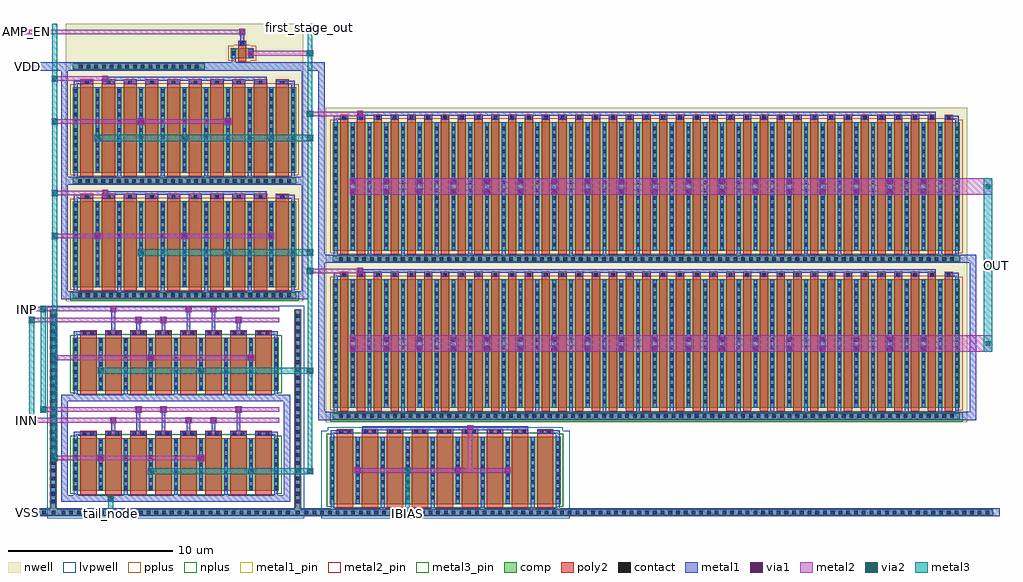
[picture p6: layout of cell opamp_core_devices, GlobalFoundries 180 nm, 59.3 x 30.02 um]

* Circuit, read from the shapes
.subckt opamp_core_devices AMP_EN IBIAS INN INP OUT VDD VSS first_stage_out mirror_diode_node tail_node
XM1 mirror_diode_node tail_node tail_node VSS nfet_03v3 w=3.2u l=1u m=2
XM2 first_stage_out tail_node tail_node VSS nfet_03v3 w=3.2u l=1u m=2
XM3 tail_node INN mirror_diode_node VSS nfet_03v3 w=3.2u l=1u m=6
XM4 tail_node INP first_stage_out VSS nfet_03v3 w=3.2u l=1u m=6
XM5 IBIAS VSS VSS VSS nfet_03v3 w=4.1u l=1u
XM6 VSS IBIAS IBIAS VSS nfet_03v3 w=4.1u l=1u m=7
XM7 VSS VSS VSS VSS nfet_03v3 w=4.1u l=1u
XM8 mirror_diode_node VDD VDD VDD pfet_03v3 w=5.2u l=0.8u m=2
XM9 first_stage_out VDD VDD VDD pfet_03v3 w=5.2u l=0.8u m=2
XM10 VDD mirror_diode_node mirror_diode_node VDD pfet_03v3 w=5.2u l=0.8u m=8
XM11 VDD mirror_diode_node first_stage_out VDD pfet_03v3 w=5.2u l=0.8u m=8
XM12 first_stage_out AMP_EN VDD VDD pfet_03v3 w=0.6u l=0.5u
XM13 OUT VDD VDD VDD pfet_03v3 w=7.8u l=0.5u m=2
XM14 VDD first_stage_out OUT VDD pfet_03v3 w=7.8u l=0.5u m=70
XM15 VDD VDD VDD VDD pfet_03v3 w=7.8u l=0.5u m=2
.ends

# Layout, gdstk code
import gdstk
lib = gdstk.Library(unit=1e-6, precision=1e-09)
def R(c, l, rs):  # rectangles x0, y0, x1, y1
    for r in rs: c.add(gdstk.rectangle(r[:2], r[2:], *l))
def A(c, l, x, y, w, h, nx, ny, dx, dy):  # array of equal rectangles
    R(c, l, [(x+i*dx, y+j*dy, x+i*dx+w, y+j*dy+h) for i in range(nx) for j in range(ny)])
nwell = (21, 0)
comp = (22, 0)
poly2 = (30, 0)
pplus = (31, 0)
nplus = (32, 0)
contact = (33, 0)
metal1 = (34, 0)
metal1_pin = (34, 10)
via1 = (35, 0)
metal2 = (36, 0)
metal2_pin = (36, 10)
via2 = (38, 0)
metal3 = (42, 0)
metal3_pin = (42, 10)
lvpwell = (204, 0)

nfet_03v3_z5rs35 = lib.new_cell('nfet_03v3_Z5RS35')
R(nfet_03v3_z5rs35, comp, [(-7.02,-2.17,7.02,1.93)])
A(nfet_03v3_z5rs35, poly2, -6.58, -2.39, 1, 4.78, 9, 1, 1.52, 0)
R(nfet_03v3_z5rs35, nplus, [(-6.81,-2.4,6.81,-2.33), (-7.18,-2.33,7.18,2.09), (-6.81,2.09,6.81,2.16)])
A(nfet_03v3_z5rs35, contact, -6.95, -1.875, 0.22, 0.22, 10, 8, 1.52, 0.47)
R(nfet_03v3_z5rs35, contact, [(-6.425,2.1,-6.205,2.32), (-5.955,2.1,-5.735,2.32), (-4.905,2.1,-4.685,2.32), (-4.435,2.1,-4.215,2.32), (-3.385,2.1,-3.165,2.32), (-2.915,2.1,-2.695,2.32), (-1.865,2.1,-1.645,2.32), (-1.395,2.1,-1.175,2.32), (-0.345,2.1,-0.125,2.32), (0.125,2.1,0.345,2.32), (1.175,2.1,1.395,2.32), (1.645,2.1,1.865,2.32), (2.695,2.1,2.915,2.32), (3.165,2.1,3.385,2.32), (4.215,2.1,4.435,2.32), (4.685,2.1,4.905,2.32), (5.735,2.1,5.955,2.32), (6.205,2.1,6.425,2.32)])
A(nfet_03v3_z5rs35, metal1, -6.955, -2.16, 0.23, 4.08, 10, 1, 1.52, 0)
A(nfet_03v3_z5rs35, metal1, -6.57, 2.095, 0.98, 0.23, 9, 1, 1.52, 0)
R(nfet_03v3_z5rs35, lvpwell, [(-7.14,-2.51,7.14,2.51)])

pfet_03v3_5ws5t6 = lib.new_cell('pfet_03v3_5WS5T6')
R(pfet_03v3_5ws5t6, nwell, [(-1.12,-1.07,1.12,1.07)])
R(pfet_03v3_5ws5t6, comp, [(-0.69,-0.42,0.69,0.18)])
R(pfet_03v3_5ws5t6, poly2, [(-0.25,-0.64,0.25,0.64)])
R(pfet_03v3_5ws5t6, pplus, [(-0.48,-0.65,0.48,-0.58), (-0.85,-0.58,0.85,0.34), (-0.48,0.34,0.48,0.41)])
R(pfet_03v3_5ws5t6, contact, [(-0.62,-0.23,-0.4,-0.01), (0.4,-0.23,0.62,-0.01), (-0.11,0.35,0.11,0.57)])
R(pfet_03v3_5ws5t6, metal1, [(-0.625,-0.41,-0.395,0.17), (0.395,-0.41,0.625,0.17), (-0.24,0.345,0.24,0.575)])

pfet_03v3_2qtqw7 = lib.new_cell('pfet_03v3_2QTQW7')
R(pfet_03v3_2qtqw7, nwell, [(-7.21,-3.37,7.21,3.37)])
R(pfet_03v3_2qtqw7, comp, [(-6.78,-2.72,6.78,2.48)])
A(pfet_03v3_2qtqw7, poly2, -6.34, -2.94, 0.8, 5.88, 10, 1, 1.32, 0)
R(pfet_03v3_2qtqw7, pplus, [(-6.57,-2.95,6.57,-2.88), (-6.94,-2.88,6.94,2.64), (-6.57,2.64,6.57,2.71)])
A(pfet_03v3_2qtqw7, contact, -6.71, -2.58, 0.22, 0.22, 11, 11, 1.32, 0.47)
A(pfet_03v3_2qtqw7, contact, -6.05, 2.65, 0.22, 0.22, 10, 1, 1.32, 0)
A(pfet_03v3_2qtqw7, metal1, -6.715, -2.71, 0.23, 5.18, 11, 1, 1.32, 0)
A(pfet_03v3_2qtqw7, metal1, -6.33, 2.645, 0.78, 0.23, 10, 1, 1.32, 0)

nfet_03v3_f2zzeg = lib.new_cell('nfet_03v3_F2ZZEG')
R(nfet_03v3_f2zzeg, comp, [(-6.26,-1.72,6.26,1.48)])
A(nfet_03v3_f2zzeg, poly2, -5.82, -1.94, 1, 3.88, 8, 1, 1.52, 0)
R(nfet_03v3_f2zzeg, nplus, [(-6.05,-1.95,6.05,-1.88), (-6.42,-1.88,6.42,1.64), (-6.05,1.64,6.05,1.71)])
A(nfet_03v3_f2zzeg, contact, -6.19, -1.64, 0.22, 0.22, 9, 7, 1.52, 0.47)
R(nfet_03v3_f2zzeg, contact, [(-5.665,1.65,-5.445,1.87), (-5.195,1.65,-4.975,1.87), (-4.145,1.65,-3.925,1.87), (-3.675,1.65,-3.455,1.87), (-2.625,1.65,-2.405,1.87), (-2.155,1.65,-1.935,1.87), (-1.105,1.65,-0.885,1.87), (-0.635,1.65,-0.415,1.87), (0.415,1.65,0.635,1.87), (0.885,1.65,1.105,1.87), (1.935,1.65,2.155,1.87), (2.405,1.65,2.625,1.87), (3.455,1.65,3.675,1.87), (3.925,1.65,4.145,1.87), (4.975,1.65,5.195,1.87), (5.445,1.65,5.665,1.87)])
A(nfet_03v3_f2zzeg, metal1, -6.195, -1.71, 0.23, 3.18, 9, 1, 1.52, 0)
A(nfet_03v3_f2zzeg, metal1, -5.81, 1.645, 0.98, 0.23, 8, 1, 1.52, 0)
R(nfet_03v3_f2zzeg, lvpwell, [(-6.38,-2.06,6.38,2.06)])

pfet_03v3_p9n4gx = lib.new_cell('pfet_03v3_P9N4GX')
R(pfet_03v3_p9n4gx, nwell, [(-19.48,-4.67,19.48,4.67)])
R(pfet_03v3_p9n4gx, comp, [(-19.05,-4.02,19.05,3.78)])
A(pfet_03v3_p9n4gx, poly2, -18.61, -4.24, 0.5, 8.48, 37, 1, 1.02, 0)
R(pfet_03v3_p9n4gx, pplus, [(-18.84,-4.25,18.84,-4.18), (-19.21,-4.18,19.21,3.94), (-18.84,3.94,18.84,4.01)])
A(pfet_03v3_p9n4gx, contact, -18.98, -3.755, 0.22, 0.22, 38, 16, 1.02, 0.47)
A(pfet_03v3_p9n4gx, contact, -18.47, 3.95, 0.22, 0.22, 37, 1, 1.02, 0)
A(pfet_03v3_p9n4gx, metal1, -18.985, -4.01, 0.23, 7.78, 38, 1, 1.02, 0)
A(pfet_03v3_p9n4gx, metal1, -18.6, 3.945, 0.48, 0.23, 37, 1, 1.02, 0)

opamp_core_devices = lib.new_cell('opamp_core_devices')
R(opamp_core_devices, nwell, [(18.37,5.73,57.33,24.75), (2.57,13.07,16.99,29.925)])
R(opamp_core_devices, comp, [(0.4,0.07,58.9,0.43), (1.635,0.43,1.995,12.555), (16.485,0.43,16.845,12.555), (18.8,5.92,56.9,6.28), (3,13.26,16.56,13.62), (18.8,15.47,56.9,15.83), (3,20.21,16.56,20.57), (3,27.16,11,27.52)])
R(opamp_core_devices, pplus, [(0.455,0.04,58.845,0.05), (0.38,0.05,58.92,0.45), (0.455,0.45,58.845,0.46), (1.605,0.46,2.025,12.585), (16.455,0.46,16.875,12.585)])
R(opamp_core_devices, nplus, [(18.64,5.76,57.06,6.32), (2.84,13.1,16.72,13.66), (18.855,15.44,56.845,15.45), (18.78,15.45,56.92,15.85), (18.855,15.85,56.845,15.86), (3.055,20.18,16.505,20.19), (2.98,20.19,16.58,20.59), (3.055,20.59,16.505,20.6), (3.055,27.13,10.945,27.14), (2.98,27.14,11.02,27.54), (3.055,27.54,10.945,27.55)])
A(opamp_core_devices, contact, 2.315, 0.14, 0.22, 0.22, 30, 1, 0.47, 0)
A(opamp_core_devices, contact, 17.095, 0.14, 0.22, 0.22, 89, 1, 0.47, 0)
A(opamp_core_devices, contact, 1.705, 0.795, 0.22, 0.22, 1, 25, 0, 0.47)
A(opamp_core_devices, contact, 16.555, 0.795, 0.22, 0.22, 1, 25, 0, 0.47)
A(opamp_core_devices, contact, 19.175, 5.99, 0.22, 0.22, 80, 2, 0.47, 9.55)
A(opamp_core_devices, contact, 3.325, 13.33, 0.22, 0.22, 28, 2, 0.47, 6.95)
A(opamp_core_devices, contact, 3.365, 27.23, 0.22, 0.22, 16, 1, 0.47, 0)
R(opamp_core_devices, contact, [(0.66,0.14,0.88,0.36), (1.13,0.14,1.35,0.36), (1.705,0.14,1.925,0.36), (16.555,0.14,16.775,0.36)])
A(opamp_core_devices, metal1, 21.705, 0.5, 0.23, 4.34, 4, 1, 3.04, 0)
A(opamp_core_devices, metal1, 6.105, 1.3, 0.23, 3.44, 3, 2, 3.04, 6.095)
A(opamp_core_devices, metal1, 20.11, 2.61, 0.38, 0.38, 4, 1, 3.04, 0)
A(opamp_core_devices, metal1, 20.905, 6.35, 0.23, 8.04, 18, 2, 2.04, 9.55)
A(opamp_core_devices, metal1, 19.81, 10.01, 0.38, 0.98, 18, 2, 2.04, 9.55)
A(opamp_core_devices, metal1, 5.705, 13.69, 0.23, 5.44, 4, 2, 2.64, 6.95)
A(opamp_core_devices, metal1, 4.31, 16.85, 0.38, 0.38, 3, 2, 5.28, 5.95)
R(opamp_core_devices, metal1, [(0,0,59.3,0.5), (1.665,0.5,1.965,12.545), (16.515,0.5,16.815,12.545), (18.665,0.5,18.895,5.015), (32.345,0.5,32.575,5.015), (2.3,0.9,16.22,1.3), (2.3,1.3,2.7,6.995), (3.065,1.3,3.295,4.915), (15.225,1.3,15.455,4.915), (15.82,1.3,16.22,6.995), (7.55,2.56,7.93,2.94), (13.63,2.56,14.01,2.94), (4.51,3.36,4.89,3.74), (10.59,3.36,10.97,3.74), (3.065,4.915,4.43,5.145), (5.345,4.915,5.575,5.655), (6.865,4.915,7.095,6.315), (8.385,4.915,8.615,6.315), (9.905,4.915,10.135,5.655), (11.425,4.915,11.655,5.655), (12.945,4.915,13.175,6.315), (14.09,4.915,15.455,5.145), (18.665,5.015,20.03,5.245), (31.21,5.015,32.575,5.245), (26.95,5.17,27.33,5.245), (20.57,5.245,30.67,5.475), (26.95,5.475,27.33,5.55), (5.27,5.655,5.65,6.035), (9.83,5.655,10.21,6.035), (11.35,5.655,11.73,6.035), (17.9,5.85,57.9,6.35), (6.79,6.315,7.17,6.695), (8.31,6.315,8.69,6.695), (12.87,6.315,13.25,6.695), (17.9,6.35,18.3,15.4), (18.865,6.35,19.095,14.565), (56.605,6.35,56.835,14.565), (57.5,6.35,57.9,15.4), (2.3,6.995,16.22,7.395), (3.065,7.395,3.295,11.01), (15.225,7.395,15.455,11.01), (4.51,8.655,4.89,9.035), (10.59,8.655,10.97,9.035), (7.55,9.455,7.93,9.835), (13.63,9.455,14.01,9.835), (3.065,11.01,4.43,11.24), (5.345,11.01,5.575,12.41), (6.865,11.01,7.095,11.75), (8.385,11.01,8.615,11.75), (9.905,11.01,10.135,12.41), (11.425,11.01,11.655,12.41), (12.945,11.01,13.175,11.75), (14.09,11.01,15.455,11.24), (6.79,11.75,7.17,12.13), (8.31,11.75,8.69,12.13), (12.87,11.75,13.25,12.13), (5.27,12.41,5.65,12.79), (9.83,12.41,10.21,12.79), (11.35,12.41,11.73,12.79), (2.3,13.19,17.3,13.69), (2.3,13.69,2.7,20.14), (3.065,13.69,3.295,19.305), (16.265,13.69,16.495,19.305), (16.9,13.69,17.3,20.14), (18.865,14.565,19.73,14.795), (55.97,14.565,56.835,14.795), (20.27,14.72,20.65,14.795), (20.27,14.795,55.43,15.025), (20.27,15.025,20.65,15.1), (17.9,15.4,57.9,15.9), (6.95,15.85,7.33,16.23), (12.23,15.85,12.61,16.23), (17.9,15.9,18.3,27.09), (18.865,15.9,19.095,24.115), (56.605,15.9,56.835,24.115), (3.065,19.305,4.23,19.535), (15.33,19.305,16.495,19.535), (4.77,19.46,5.15,19.535), (4.77,19.535,14.79,19.765), (4.77,19.765,5.15,19.84), (2.3,20.14,17.3,20.64), (2.3,20.64,2.7,27.09), (3.065,20.64,3.295,26.255), (16.265,20.64,16.495,26.255), (16.9,20.64,17.3,27.09), (6.95,23.8,7.33,24.18), (12.23,23.8,12.61,24.18), (18.865,24.115,19.73,24.345), (55.97,24.115,56.835,24.345), (20.27,24.27,20.65,24.345), (20.27,24.345,55.43,24.575), (20.27,24.575,20.65,24.65), (3.065,26.255,4.23,26.485), (15.33,26.255,16.495,26.485), (4.77,26.41,5.15,26.485), (4.77,26.485,14.79,26.715), (4.77,26.715,5.15,26.79), (0,27.09,18.3,27.59), (12.665,27.59,12.895,28.43), (13.61,27.95,13.99,28.33), (13.05,28.605,13.53,28.835), (13.175,28.835,13.405,29.245), (13.1,29.245,13.48,29.625)])
R(opamp_core_devices, metal1_pin, [(0,0,0.46,0.5), (0,27.09,0.46,27.59)])
A(opamp_core_devices, via1, 20.17, 2.67, 0.26, 0.26, 4, 1, 3.04, 0)
A(opamp_core_devices, via1, 19.87, 10.07, 0.26, 0.26, 18, 2, 2.04, 0.6)
A(opamp_core_devices, via1, 4.37, 16.91, 0.26, 0.26, 3, 2, 5.28, 5.95)
A(opamp_core_devices, via1, 19.87, 19.62, 0.26, 0.26, 18, 2, 2.04, 0.6)
R(opamp_core_devices, via1, [(5.17,0.97,5.43,1.23), (7.61,2.62,7.87,2.88), (13.69,2.62,13.95,2.88), (4.57,3.42,4.83,3.68), (10.65,3.42,10.91,3.68), (27.01,5.23,27.27,5.49), (5.33,5.715,5.59,5.975), (9.89,5.715,10.15,5.975), (11.41,5.715,11.67,5.975), (6.85,6.375,7.11,6.635), (8.37,6.375,8.63,6.635), (12.93,6.375,13.19,6.635), (4.57,8.715,4.83,8.975), (10.65,8.715,10.91,8.975), (7.61,9.515,7.87,9.775), (13.69,9.515,13.95,9.775), (6.85,11.81,7.11,12.07), (8.37,11.81,8.63,12.07), (12.93,11.81,13.19,12.07), (5.33,12.47,5.59,12.73), (9.89,12.47,10.15,12.73), (11.41,12.47,11.67,12.73), (20.33,14.78,20.59,15.04), (7.01,15.91,7.27,16.17), (12.29,15.91,12.55,16.17), (4.83,19.52,5.09,19.78), (7.01,23.86,7.27,24.12), (12.29,23.86,12.55,24.12), (20.33,24.33,20.59,24.59), (4.83,26.47,5.09,26.73), (13.67,28.01,13.93,28.27), (13.16,29.305,13.42,29.565)])
A(opamp_core_devices, metal2, 20.11, 2.61, 0.38, 0.05, 4, 2, 3.04, 0.33)
A(opamp_core_devices, metal2, 4.31, 16.85, 0.38, 0.05, 3, 2, 5.28, 0.33)
A(opamp_core_devices, metal2, 4.31, 22.8, 0.38, 0.38, 3, 1, 5.28, 0)
R(opamp_core_devices, metal2, [(5.11,0.91,5.49,1.29), (7.55,2.56,7.93,2.94), (13.63,2.56,14.01,2.94), (17.21,2.56,17.59,2.94), (20.11,2.66,29.61,2.94), (27,2.94,27.28,5.17), (1.71,3.36,2.09,3.41), (4.51,3.36,4.89,3.41), (10.59,3.36,10.97,3.41), (1.71,3.41,10.97,3.69), (1.71,3.69,2.09,3.74), (4.51,3.69,4.89,3.74), (10.59,3.69,10.97,3.74), (26.95,5.17,27.33,5.55), (0.31,5.655,0.69,5.705), (5.27,5.655,5.65,5.705), (9.83,5.655,10.21,5.705), (11.35,5.655,11.73,5.705), (0,5.705,15.53,5.985), (0.31,5.985,0.69,6.035), (5.27,5.985,5.65,6.035), (9.83,5.985,10.21,6.035), (11.35,5.985,11.73,6.035), (1.01,6.315,1.39,6.365), (6.79,6.315,7.17,6.365), (8.31,6.315,8.69,6.365), (12.87,6.315,13.25,6.365), (1.01,6.365,15.53,6.645), (1.01,6.645,1.39,6.695), (6.79,6.645,7.17,6.695), (8.31,6.645,8.69,6.695), (12.87,6.645,13.25,6.695), (4.51,8.655,4.89,9.035), (10.59,8.655,10.97,9.035), (17.21,8.655,17.59,9.035), (1.71,9.455,2.09,9.505), (7.55,9.455,7.93,9.505), (13.63,9.455,14.01,9.505), (1.71,9.505,14.01,9.785), (1.71,9.785,2.09,9.835), (7.55,9.785,7.93,9.835), (13.63,9.785,14.01,9.835), (19.81,10,58.85,11), (0.31,11.75,0.69,11.8), (6.79,11.75,7.17,11.8), (8.31,11.75,8.69,11.8), (12.87,11.75,13.25,11.8), (0.31,11.8,15.53,12.08), (0.31,12.08,0.69,12.13), (6.79,12.08,7.17,12.13), (8.31,12.08,8.69,12.13), (12.87,12.08,13.25,12.13), (1.01,12.41,1.39,12.46), (5.27,12.41,5.65,12.46), (9.83,12.41,10.21,12.46), (11.35,12.41,11.73,12.46), (0,12.46,15.53,12.74), (1.01,12.74,1.39,12.79), (5.27,12.74,5.65,12.79), (9.83,12.74,10.21,12.79), (11.35,12.74,11.73,12.79), (17.21,14.72,17.59,14.77), (20.27,14.72,20.65,14.77), (17.21,14.77,20.65,15.05), (58.35,15.025,59.3,15.525), (17.21,15.05,17.59,15.1), (20.27,15.05,20.65,15.1), (6.95,15.85,7.33,16.23), (12.23,15.85,12.61,16.23), (17.21,15.85,17.59,16.23), (1.71,16.85,2.09,16.9), (1.71,16.9,15.25,17.18), (1.71,17.18,2.09,17.23), (1.71,19.46,2.09,19.51), (4.77,19.46,5.15,19.51), (1.71,19.51,5.15,19.79), (19.81,19.55,58.85,20.55), (1.71,19.79,2.09,19.84), (4.77,19.79,5.15,19.84), (17.21,22.8,17.59,23.18), (1.71,23.8,2.09,23.85), (6.95,23.8,7.33,23.85), (12.23,23.8,12.61,23.85), (1.71,23.85,12.61,24.13), (1.71,24.13,2.09,24.18), (6.95,24.13,7.33,24.18), (12.23,24.13,12.61,24.18), (17.21,24.27,17.59,24.32), (20.27,24.27,20.65,24.32), (17.21,24.32,20.65,24.6), (17.21,24.6,17.59,24.65), (20.27,24.6,20.65,24.65), (1.71,26.41,2.09,26.46), (4.77,26.41,5.15,26.46), (1.71,26.46,5.15,26.74), (1.71,26.74,2.09,26.79), (4.77,26.74,5.15,26.79), (13.61,27.95,13.99,28), (17.21,27.95,17.59,28), (13.61,28,17.59,28.28), (13.61,28.28,13.99,28.33), (17.21,28.28,17.59,28.33), (13.1,29.245,13.48,29.295), (0,29.295,13.48,29.575), (13.1,29.575,13.48,29.625)])
R(opamp_core_devices, metal2_pin, [(0,5.705,0.38,5.985), (0,12.46,0.38,12.74), (58.92,15.025,59.3,15.525), (0,29.295,0.38,29.575)])
A(opamp_core_devices, via2, 58.47, 10.37, 0.26, 0.26, 1, 3, 0, 4.775)
A(opamp_core_devices, via2, 4.37, 22.86, 0.26, 0.26, 3, 1, 5.28, 0)
R(opamp_core_devices, via2, [(5.17,0.97,5.43,1.23), (7.61,2.62,7.87,2.88), (13.69,2.62,13.95,2.88), (17.27,2.62,17.53,2.88), (23.21,2.67,23.47,2.93), (1.77,3.42,2.03,3.68), (0.37,5.715,0.63,5.975), (1.07,6.375,1.33,6.635), (4.57,8.715,4.83,8.975), (10.65,8.715,10.91,8.975), (17.27,8.715,17.53,8.975), (1.77,9.515,2.03,9.775), (0.37,11.81,0.63,12.07), (1.07,12.47,1.33,12.73), (17.27,14.78,17.53,15.04), (7.01,15.91,7.27,16.17), (12.29,15.91,12.55,16.17), (17.27,15.91,17.53,16.17), (1.77,16.91,2.03,17.17), (1.77,19.52,2.03,19.78), (17.27,22.86,17.53,23.12), (1.77,23.86,2.03,24.12), (17.27,24.33,17.53,24.59), (1.77,26.47,2.03,26.73), (17.27,28.01,17.53,28.27)])
R(opamp_core_devices, metal3, [(5.16,0,5.44,0.91), (23.2,0,23.48,2.61), (5.11,0.91,5.49,1.29), (7.55,2.56,17.59,2.94), (23.15,2.61,23.53,2.99), (17.26,2.94,17.54,8.655), (1.71,3.36,2.09,3.74), (1.76,3.74,2.04,9.455), (0.31,5.655,0.69,6.035), (0.36,6.035,0.64,11.75), (1.01,6.315,1.39,6.695), (1.06,6.695,1.34,12.41), (4.51,8.655,17.59,9.035), (17.26,9.035,17.54,14.72), (1.71,9.455,2.09,9.835), (1.76,9.835,2.04,16.85), (58.35,10,58.85,20.55), (0.31,11.75,0.69,12.13), (1.01,12.41,1.39,12.79), (17.21,14.72,17.59,15.1), (17.26,15.1,17.54,15.85), (6.95,15.85,17.59,16.23), (17.26,16.23,17.54,22.8), (1.71,16.85,2.09,17.23), (1.76,17.23,2.04,19.46), (1.71,19.46,2.09,19.84), (1.76,19.84,2.04,23.8), (4.31,22.8,17.59,23.18), (17.26,23.18,17.54,24.27), (1.71,23.8,2.09,24.18), (1.76,24.18,2.04,26.41), (17.21,24.27,17.59,24.65), (17.26,24.65,17.54,27.95), (1.71,26.41,2.09,26.79), (1.76,26.79,2.04,29.925), (17.21,27.95,17.59,28.33), (17.26,28.33,17.54,29.925)])
R(opamp_core_devices, metal3_pin, [(5.16,0,5.44,0.38), (23.2,0,23.48,0.38), (1.76,29.545,2.04,29.925), (17.26,29.545,17.54,29.925)])
R(opamp_core_devices, lvpwell, [(1.45,-0.1,17.05,12.79), (18.1,-0.1,33.2,5.2)])
opamp_core_devices.add(gdstk.Reference(nfet_03v3_z5rs35, (25.62,2.92)))
opamp_core_devices.add(gdstk.Reference(pfet_03v3_5ws5t6, (13.29,28.26)))
opamp_core_devices.add(gdstk.Reference(pfet_03v3_2qtqw7, (9.78,16.66)))
opamp_core_devices.add(gdstk.Reference(pfet_03v3_2qtqw7, (9.78,23.61)))
opamp_core_devices.add(gdstk.Reference(nfet_03v3_f2zzeg, (9.26,3.27)))
opamp_core_devices.add(gdstk.Reference(nfet_03v3_f2zzeg, (9.26,9.365)))
opamp_core_devices.add(gdstk.Reference(pfet_03v3_p9n4gx, (37.85,10.62)))
opamp_core_devices.add(gdstk.Reference(pfet_03v3_p9n4gx, (37.85,20.17)))
opamp_core_devices.add(gdstk.Label('VSS', (0.23,0.25), layer=34, texttype=10))
opamp_core_devices.add(gdstk.Label('VDD', (0.23,27.34), layer=34, texttype=10))
opamp_core_devices.add(gdstk.Label('OUT', (59.11,15.275), layer=36, texttype=10))
opamp_core_devices.add(gdstk.Label('AMP_EN', (0.19,29.435), layer=36, texttype=10))
opamp_core_devices.add(gdstk.Label('INP', (0.19,12.6), layer=36, texttype=10))
opamp_core_devices.add(gdstk.Label('INN', (0.19,5.845), layer=36, texttype=10))
opamp_core_devices.add(gdstk.Label('first_stage_out', (17.4,29.735), layer=42, texttype=10))
opamp_core_devices.add(gdstk.Label('mirror_diode_node', (1.9,29.735), layer=42, texttype=10))
opamp_core_devices.add(gdstk.Label('IBIAS', (23.34,0.19), layer=42, texttype=10))
opamp_core_devices.add(gdstk.Label('tail_node', (5.3,0.19), layer=42, texttype=10))

lib.write_gds('opamp_core_devices.gds')
